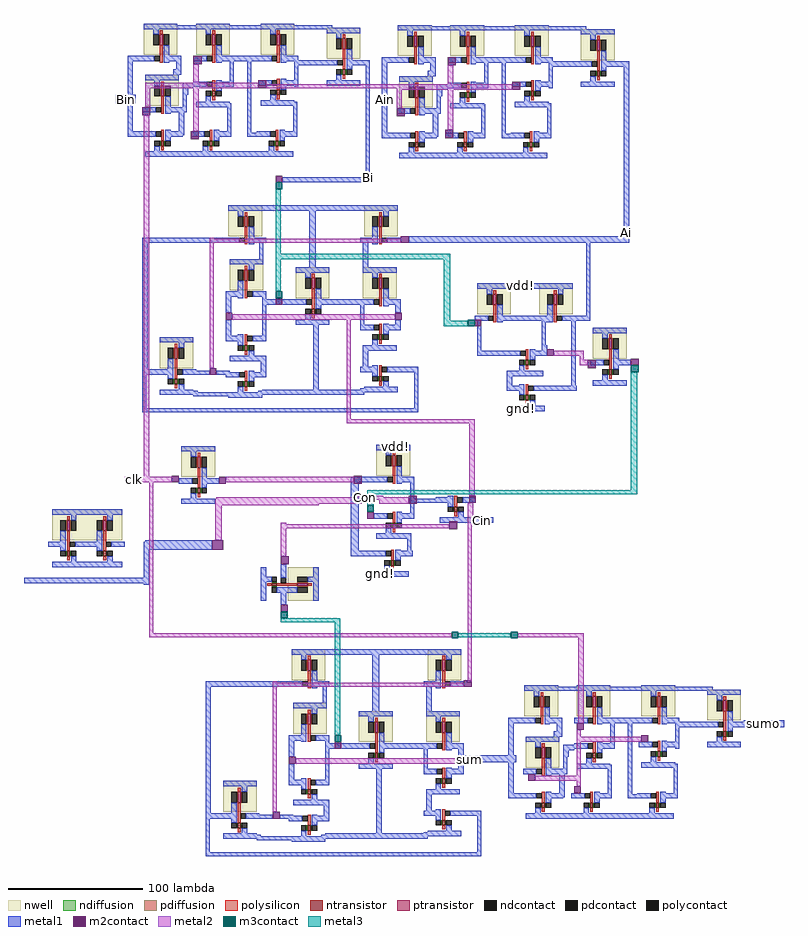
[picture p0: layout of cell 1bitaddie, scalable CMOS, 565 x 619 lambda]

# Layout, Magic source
magic
tech scmos
<< nwell >>
rect -41 -285 -35 -262
<< metal1 >>
rect 166 68 170 72
rect -19 40 -4 46
rect 167 -15 170 68
rect 355 67 363 71
rect 178 41 186 45
rect 105 -19 170 -15
rect 359 -59 363 67
rect 199 -64 363 -59
rect 279 -98 284 -94
rect 331 -118 334 -64
rect 323 -122 334 -118
rect 301 -144 302 -140
rect 280 -189 285 -185
rect 187 -217 191 -214
rect -41 -266 -37 -262
rect 242 -272 245 -269
rect 247 -272 262 -268
rect 3 -286 53 -285
rect 2 -292 53 -286
rect -41 -305 -37 -301
rect 2 -313 6 -292
rect 176 -312 180 -308
rect -87 -317 6 -313
rect 2 -318 6 -317
rect 242 -391 245 -389
rect 448 -424 478 -419
rect 237 -450 279 -445
<< m2contact >>
rect 39 69 45 75
rect 228 68 234 74
rect 87 51 93 57
rect 1 31 7 37
rect 37 13 43 19
rect 100 -19 105 -14
rect 276 50 282 56
rect 190 30 196 36
rect 226 14 232 20
rect 100 -110 105 -105
rect 248 -126 253 -121
rect 302 -148 307 -143
rect 332 -157 338 -151
rect 364 -155 370 -150
rect 23 -242 28 -237
rect 58 -243 63 -238
rect 158 -243 164 -237
rect 199 -258 205 -252
rect 244 -257 249 -252
rect 168 -269 173 -264
rect 229 -277 235 -271
rect 53 -292 61 -285
rect 104 -303 110 -297
rect 104 -338 109 -333
rect 324 -426 329 -421
rect 372 -435 377 -430
rect 144 -440 149 -435
rect 288 -464 293 -459
rect 322 -473 327 -468
<< metal2 >>
rect 39 55 43 69
rect 3 51 87 55
rect 228 54 232 68
rect 93 51 276 54
rect 3 37 7 51
rect 2 -238 6 31
rect 39 19 43 51
rect 190 50 276 51
rect 190 36 194 50
rect 228 20 232 50
rect 153 -195 156 -117
rect 307 -148 329 -144
rect 326 -151 329 -148
rect 326 -155 332 -151
rect 153 -198 248 -195
rect -12 -242 23 -238
rect 6 -354 9 -242
rect 63 -242 158 -238
rect 244 -252 248 -198
rect 161 -253 180 -252
rect 56 -254 199 -253
rect 55 -255 199 -254
rect 55 -258 164 -255
rect 177 -258 199 -255
rect 55 -259 132 -258
rect 55 -285 60 -259
rect 104 -273 108 -272
rect 104 -276 229 -273
rect 104 -297 108 -276
rect 243 -273 247 -257
rect 6 -357 231 -354
rect 243 -390 246 -273
rect 280 -357 329 -354
rect 325 -421 329 -357
rect 324 -431 327 -426
rect 324 -435 372 -431
rect 324 -460 327 -435
rect 293 -464 327 -460
rect 324 -468 327 -464
<< m3contact >>
rect 100 -24 105 -19
rect 100 -105 105 -100
rect 243 -126 248 -121
rect 364 -160 370 -155
rect 168 -264 173 -259
rect 104 -343 109 -338
rect 231 -358 236 -353
rect 275 -358 280 -353
rect 144 -435 149 -430
<< metal3 >>
rect 100 -72 104 -24
rect 100 -76 230 -72
rect 100 -100 104 -76
rect 225 -122 230 -76
rect 225 -126 243 -122
rect 364 -248 369 -160
rect 168 -251 369 -248
rect 168 -259 173 -251
rect 104 -346 148 -343
rect 144 -430 148 -346
rect 236 -357 275 -354
use inverter  inverter_1
transform 0 1 114 -1 0 -313
box -10 -25 20 18
use xorg  xorg_1
transform 1 0 110 0 1 -395
box -62 -125 143 29
use ff  ff_2
transform 1 0 289 0 1 -421
box -16 -71 160 28
use inverter  inverter_2
transform 1 0 38 0 1 -233
box -10 -25 20 18
use xorg  xorg_0
transform 1 0 63 0 1 -65
box -62 -125 143 29
use doubleinv  doubleinv_0
transform -1 0 -14 0 1 -303
box -2 -2 55 41
use nandg  nandg_0
transform 1 0 248 0 1 -123
box 0 -66 76 29
use manch  manch_0
transform 1 0 173 0 1 -243
box -17 -69 76 29
use inverter  inverter_0
transform 1 0 344 0 1 -145
box -10 -25 20 18
use ff  ff_0
transform 1 0 6 0 1 71
box -16 -71 160 28
use ff  ff_1
transform 1 0 195 0 1 70
box -16 -71 160 28
<< labels >>
rlabel metal1 244 -448 244 -448 1 sum
rlabel metal1 169 -15 169 -15 1 Bi
rlabel metal1 361 -56 361 -56 1 Ai
rlabel metal1 254 -270 254 -270 1 Cin
rlabel metal1 -11 43 -11 43 1 Bin
rlabel metal1 182 43 182 43 1 Ain
rlabel metal2 167 -253 167 -253 1 Con
rlabel metal1 463 -421 463 -421 1 sumo
rlabel metal1 282 -96 282 -96 1 vdd!
rlabel metal1 283 -187 283 -187 1 gnd!
rlabel metal1 189 -215 189 -215 1 vdd!
rlabel metal1 176 -312 180 -308 1 gnd!
rlabel metal2 -5 -240 -5 -240 1 clk
<< end >>

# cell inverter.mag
magic
tech scmos
<< nwell >>
rect -8 -5 17 18
<< ntransistor >>
rect 4 -17 6 -13
<< ptransistor >>
rect 4 2 6 10
<< ndiffusion >>
rect 3 -17 4 -13
rect 6 -17 7 -13
<< pdiffusion >>
rect 3 2 4 10
rect 6 2 7 10
<< ndcontact >>
rect -1 -17 3 -13
rect 7 -17 11 -13
<< pdcontact >>
rect -1 2 3 10
rect 7 2 11 10
<< polysilicon >>
rect 4 10 6 13
rect 4 -13 6 2
rect 4 -20 6 -17
<< polycontact >>
rect 0 -10 4 -6
<< metal1 >>
rect -8 14 17 18
rect -1 10 3 14
rect 7 -6 11 2
rect -10 -10 0 -6
rect 7 -10 20 -6
rect 7 -13 11 -10
rect -1 -21 3 -17
rect -8 -25 17 -21
<< labels >>
rlabel metal1 -8 -8 -8 -8 3 in
rlabel metal1 19 -8 19 -8 7 out
rlabel metal1 3 16 3 16 5 vdd!
rlabel metal1 2 -23 2 -23 1 gnd!
<< end >>

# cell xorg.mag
magic
tech scmos
<< metal1 >>
rect 27 25 103 29
rect -62 1 0 5
rect -62 -93 -58 1
rect 25 -11 28 1
rect 62 -17 67 25
rect 102 -17 106 1
rect 0 -51 4 -39
rect 27 -41 30 -39
rect 27 -45 50 -41
rect 80 -45 100 -41
rect 0 -68 4 -56
rect 27 -68 30 -45
rect 100 -60 103 -45
rect 126 -51 130 -45
rect 126 -60 130 -56
rect -62 -97 -52 -93
rect -22 -97 -12 -94
rect -7 -95 3 -94
rect 26 -95 30 -83
rect -7 -97 0 -95
rect -62 -122 -59 -97
rect 65 -108 69 -60
rect 102 -91 106 -79
rect 130 -95 143 -91
rect 100 -108 103 -107
rect 27 -109 103 -108
rect -24 -110 -21 -109
rect 24 -110 103 -109
rect -24 -113 2 -110
rect 27 -112 103 -110
rect 140 -122 143 -95
rect -62 -125 143 -122
<< m2contact >>
rect 130 1 136 6
rect 0 -56 5 -51
rect 126 -56 131 -51
rect -12 -97 -7 -92
<< metal2 >>
rect -12 4 -9 5
rect -12 1 130 4
rect -12 -92 -9 1
rect 5 -56 126 -52
use inverter  inverter_0
transform -1 0 -32 0 1 -87
box -10 -25 20 18
use nmos  nmos_1
transform 1 0 10 0 1 -89
box -10 -25 20 -5
use nmos  nmos_0
transform -1 0 20 0 1 -62
box -10 -25 20 -5
use nmos  nmos_2
transform 1 0 110 0 1 -54
box -10 -25 20 -5
use nmos  nmos_3
transform -1 0 120 0 1 -85
box -10 -25 20 -5
use pmos  pmos_1
transform -1 0 20 0 1 -29
box -10 -11 20 18
use pmos  pmos_3
transform 1 0 110 0 1 -35
box -10 -11 20 18
use inverter  inverter_1
transform 1 0 60 0 1 -35
box -10 -25 20 18
use pmos  pmos_0
transform 1 0 10 0 1 11
box -10 -11 20 18
use pmos  pmos_2
transform -1 0 120 0 1 11
box -10 -11 20 18
<< labels >>
rlabel metal2 2 3 2 3 3 An
rlabel space 24 -37 24 -37 1 B
rlabel space 4 -97 4 -97 3 A
rlabel metal2 128 3 128 3 7 A
rlabel space 103 -43 103 -43 1 Bn
rlabel space 127 -94 127 -94 7 An
<< end >>

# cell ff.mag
magic
tech scmos
<< metal1 >>
rect 21 25 136 27
rect 21 24 133 25
rect -16 0 -3 4
rect -16 -52 -12 0
rect 20 -6 24 4
rect 18 -10 24 -6
rect 60 0 82 4
rect 108 1 111 4
rect 20 -14 22 -10
rect 25 -20 33 -16
rect 60 -19 63 0
rect 25 -25 29 -20
rect 25 -37 28 -25
rect 51 -34 61 -31
rect 22 -38 28 -37
rect -16 -56 -5 -52
rect 22 -55 26 -38
rect 58 -55 61 -34
rect 73 -53 76 0
rect 108 -3 130 1
rect 108 -19 111 -3
rect 100 -33 110 -30
rect 73 -56 83 -53
rect 107 -54 110 -33
rect 22 -71 82 -67
use pmos  pmos_1
transform 1 0 5 0 1 -28
box -10 -11 20 18
use nmos  nmos_0
transform 1 0 5 0 1 -46
box -10 -25 20 -5
use nmos  nmos_1
transform 1 0 43 0 1 -9
box -10 -25 20 -5
use nmos  nmos_2
transform 1 0 41 0 1 -46
box -10 -25 20 -5
use nmos  nmos_3
transform 1 0 91 0 1 -8
box -10 -25 20 -5
use nmos  nmos_4
transform 1 0 90 0 1 -46
box -10 -25 20 -5
use pmos  pmos_0
transform 1 0 4 0 1 10
box -10 -11 20 18
use pmos  pmos_2
transform 1 0 43 0 1 10
box -10 -11 20 18
use pmos  pmos_3
transform 1 0 91 0 1 10
box -10 -11 20 18
use inverter  inverter_0
transform 1 0 140 0 1 7
box -10 -25 20 18
<< labels >>
rlabel space -2 2 -2 2 3 D
rlabel space 13 26 13 26 5 vdd
rlabel space 10 -70 10 -70 1 gnd
rlabel space 31 -56 41 -52 0 clk!
rlabel space -5 -38 5 -34 0 clk!
rlabel space 33 0 43 4 0 clk!
rlabel space 81 -18 91 -14 0 clk!
rlabel metal1 29 -69 29 -69 1 gnd!
<< end >>

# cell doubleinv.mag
magic
tech scmos
use inverter  inverter_0
transform 1 0 8 0 1 23
box -10 -25 20 18
use inverter  inverter_1
transform 1 0 35 0 1 23
box -10 -25 20 18
<< end >>

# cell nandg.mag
magic
tech scmos
<< metal1 >>
rect 26 25 49 29
rect 2 -21 5 5
rect 30 1 46 5
rect 50 1 53 5
rect 50 0 56 1
rect 2 -25 25 -21
rect 50 -25 53 0
rect 24 -51 28 -36
rect 72 -47 75 5
rect 53 -51 76 -47
rect 39 -66 45 -62
use nmos  nmos_1
transform -1 0 44 0 1 -41
box -10 -25 20 -5
use nmos  nmos_0
transform 1 0 34 0 1 -15
box -10 -25 20 -5
use pmos  pmos_1
transform -1 0 65 0 1 11
box -10 -11 20 18
use pmos  pmos_0
transform 1 0 10 0 1 11
box -10 -11 20 18
<< labels >>
rlabel space 52 -50 52 -50 1 B
rlabel metal1 20 -24 20 -24 1 A
rlabel metal1 53 -22 53 -22 1 out
rlabel metal1 38 27 38 27 5 vdd!
rlabel metal1 42 -64 42 -64 1 gnd!
<< end >>

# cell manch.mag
magic
tech scmos
<< metal1 >>
rect -17 1 3 5
rect -17 -50 -11 1
rect 27 -11 30 4
rect 27 -14 46 -11
rect 27 -26 30 -14
rect -17 -54 1 -50
rect 25 -53 28 -37
use nmos  nmos_2
transform -1 0 66 0 1 -4
box -10 -25 20 -5
use nmos  nmos_1
transform 1 0 9 0 1 -44
box -10 -25 20 -5
use nmos  nmos_0
transform 1 0 10 0 1 -16
box -10 -25 20 -5
use pmos  pmos_0
transform 1 0 10 0 1 11
box -10 -11 20 18
<< labels >>
rlabel space 2 -24 2 -24 3 gi
rlabel space 12 26 12 26 5 vdd!
rlabel space 13 -67 13 -67 1 gnd!
rlabel metal1 -13 -25 -13 -25 3 clk
rlabel space 74 -13 74 -13 7 pi
rlabel space 72 -27 72 -27 7 ci
rlabel metal1 28 -12 28 -12 1 out
<< end >>

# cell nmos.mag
magic
tech scmos
<< ntransistor >>
rect 4 -17 6 -13
<< ndiffusion >>
rect 3 -17 4 -13
rect 6 -17 7 -13
<< ndcontact >>
rect -1 -17 3 -13
rect 7 -17 11 -13
<< polysilicon >>
rect 4 -13 6 -5
rect 4 -20 6 -17
<< polycontact >>
rect 0 -10 4 -6
<< metal1 >>
rect 7 -6 11 -5
rect -10 -10 0 -6
rect 7 -10 20 -6
rect 7 -13 11 -10
rect -1 -21 3 -17
rect -8 -25 17 -21
<< end >>

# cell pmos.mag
magic
tech scmos
<< nwell >>
rect -8 -5 17 18
<< ptransistor >>
rect 4 2 6 10
<< pdiffusion >>
rect 3 2 4 10
rect 6 2 7 10
<< pdcontact >>
rect -1 2 3 10
rect 7 2 11 10
<< polysilicon >>
rect 4 10 6 13
rect 4 -11 6 2
<< polycontact >>
rect 0 -10 4 -6
<< metal1 >>
rect -8 14 17 18
rect -1 10 3 14
rect 7 -6 11 2
rect -10 -10 0 -6
rect 7 -10 20 -6
rect 7 -11 11 -10
<< end >>
